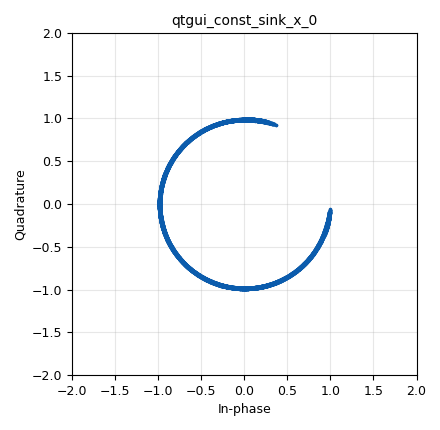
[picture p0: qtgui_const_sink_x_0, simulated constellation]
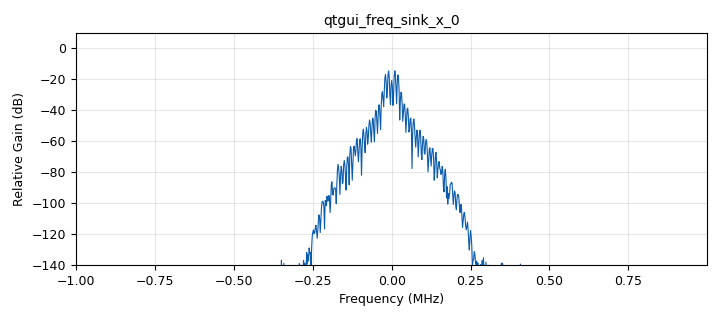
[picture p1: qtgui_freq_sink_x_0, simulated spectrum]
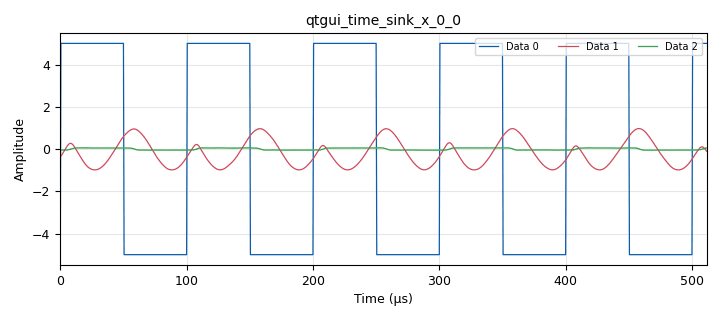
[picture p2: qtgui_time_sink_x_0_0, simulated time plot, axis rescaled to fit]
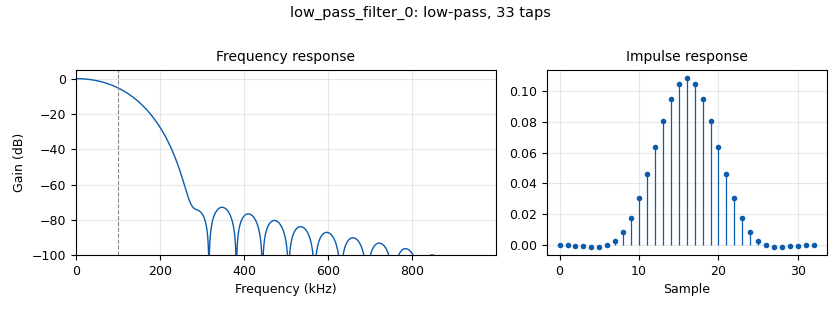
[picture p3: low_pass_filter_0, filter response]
<?xml version='1.0' encoding='utf-8'?>
<?grc format='1' created='3.7.11'?>
<flow_graph>
<block>
<key>options</key>
<param><key>id</key><value>top_block</value></param>
<param><key>generate_options</key><value>qt_gui</value></param>
</block>
<block>
<key>variable_qtgui_range</key>
<param><key>id</key><value>cutoff</value></param>
<param><key>value</key><value>100000</value></param>
<param><key>gui_hint</key><value>3,0</value></param>
<param><key>orient</key><value>Qt.Horizontal</value></param>
<param><key>start</key><value>10000</value></param>
<param><key>step</key><value>10000</value></param>
<param><key>stop</key><value>200000</value></param>
</block>
<block>
<key>variable_qtgui_range</key>
<param><key>id</key><value>freq</value></param>
<param><key>value</key><value>100000</value></param>
<param><key>gui_hint</key><value>0,0</value></param>
<param><key>orient</key><value>Qt.Horizontal</value></param>
<param><key>start</key><value>50000</value></param>
<param><key>step</key><value>50000</value></param>
<param><key>stop</key><value>500000</value></param>
</block>
<block>
<key>variable_qtgui_range</key>
<param><key>id</key><value>mod_amp</value></param>
<param><key>value</key><value>10</value></param>
<param><key>gui_hint</key><value>2,0</value></param>
<param><key>orient</key><value>Qt.Horizontal</value></param>
<param><key>start</key><value>0</value></param>
<param><key>step</key><value>1</value></param>
<param><key>stop</key><value>100</value></param>
</block>
<block>
<key>variable_qtgui_range</key>
<param><key>id</key><value>mod_freq</value></param>
<param><key>value</key><value>10000</value></param>
<param><key>gui_hint</key><value>1,0</value></param>
<param><key>orient</key><value>Qt.Horizontal</value></param>
<param><key>start</key><value>0</value></param>
<param><key>step</key><value>100</value></param>
<param><key>stop</key><value>100000</value></param>
</block>
<block>
<key>variable_qtgui_range</key>
<param><key>id</key><value>noise</value></param>
<param><key>value</key><value>0</value></param>
<param><key>gui_hint</key><value>4,0</value></param>
<param><key>orient</key><value>Qt.Horizontal</value></param>
<param><key>start</key><value>0</value></param>
<param><key>step</key><value>.1</value></param>
<param><key>stop</key><value>5</value></param>
</block>
<block>
<key>variable</key>
<param><key>id</key><value>samp_rate</value></param>
<param><key>value</key><value>2000000</value></param>
</block>
<block>
<key>analog_frequency_modulator_fc</key>
<param><key>id</key><value>analog_frequency_modulator_fc_0</value></param>
<param><key>sensitivity</key><value>.01</value></param>
</block>
<block>
<key>analog_noise_source_x</key>
<param><key>id</key><value>analog_noise_source_x_0</value></param>
<param><key>amp</key><value>noise</value></param>
<param><key>noise_type</key><value>analog.GR_GAUSSIAN</value></param>
<param><key>type</key><value>complex</value></param>
<param><key>seed</key><value>0</value></param>
</block>
<block>
<key>analog_quadrature_demod_cf</key>
<param><key>id</key><value>analog_quadrature_demod_cf_0</value></param>
<param><key>gain</key><value>1</value></param>
</block>
<block>
<key>analog_sig_source_x</key>
<param><key>id</key><value>analog_sig_source_x_0</value></param>
<param><key>amp</key><value>1</value></param>
<param><key>freq</key><value>freq</value></param>
<param><key>offset</key><value>0</value></param>
<param><key>type</key><value>float</value></param>
<param><key>samp_rate</key><value>samp_rate</value></param>
<param><key>waveform</key><value>analog.GR_COS_WAVE</value></param>
</block>
<block>
<key>analog_sig_source_x</key>
<param><key>id</key><value>analog_sig_source_x_1</value></param>
<param><key>amp</key><value>1</value></param>
<param><key>freq</key><value>freq</value></param>
<param><key>offset</key><value>0</value></param>
<param><key>type</key><value>float</value></param>
<param><key>samp_rate</key><value>samp_rate</value></param>
<param><key>waveform</key><value>analog.GR_SIN_WAVE</value></param>
</block>
<block>
<key>analog_sig_source_x</key>
<param><key>id</key><value>analog_sig_source_x_2</value></param>
<param><key>amp</key><value>mod_amp</value></param>
<param><key>freq</key><value>mod_freq</value></param>
<param><key>offset</key><value>-mod_amp/2</value></param>
<param><key>type</key><value>float</value></param>
<param><key>samp_rate</key><value>samp_rate</value></param>
<param><key>waveform</key><value>analog.GR_SQR_WAVE</value></param>
</block>
<block>
<key>analog_sig_source_x</key>
<param><key>id</key><value>analog_sig_source_x_3</value></param>
<param><key>amp</key><value>1</value></param>
<param><key>freq</key><value>-freq</value></param>
<param><key>offset</key><value>0</value></param>
<param><key>type</key><value>complex</value></param>
<param><key>samp_rate</key><value>samp_rate</value></param>
<param><key>waveform</key><value>analog.GR_COS_WAVE</value></param>
</block>
<block>
<key>blocks_add_xx</key>
<param><key>id</key><value>blocks_add_xx_0</value></param>
<param><key>type</key><value>complex</value></param>
</block>
<block>
<key>blocks_complex_to_real</key>
<param><key>id</key><value>blocks_complex_to_real_0</value></param>
</block>
<block>
<key>blocks_float_to_complex</key>
<param><key>id</key><value>blocks_float_to_complex_0</value></param>
</block>
<block>
<key>blocks_multiply_xx</key>
<param><key>id</key><value>blocks_multiply_xx_0</value></param>
<param><key>type</key><value>complex</value></param>
</block>
<block>
<key>blocks_multiply_xx</key>
<param><key>id</key><value>blocks_multiply_xx_0_0</value></param>
<param><key>type</key><value>complex</value></param>
</block>
<block>
<key>blocks_repeat</key>
<param><key>id</key><value>blocks_repeat_0</value></param>
<param><key>_enabled</key><value>0</value></param>
<param><key>interp</key><value>56</value></param>
<param><key>type</key><value>byte</value></param>
</block>
<block>
<key>blocks_throttle</key>
<param><key>id</key><value>blocks_throttle_0</value></param>
<param><key>_enabled</key><value>0</value></param>
<param><key>samples_per_second</key><value>samp_rate</value></param>
<param><key>type</key><value>byte</value></param>
</block>
<block>
<key>blocks_throttle</key>
<param><key>id</key><value>blocks_throttle_1</value></param>
<param><key>samples_per_second</key><value>samp_rate</value></param>
<param><key>type</key><value>complex</value></param>
</block>
<block>
<key>blocks_vector_source_x</key>
<param><key>id</key><value>blocks_vector_source_x_0</value></param>
<param><key>_enabled</key><value>0</value></param>
<param><key>type</key><value>byte</value></param>
<param><key>repeat</key><value>True</value></param>
<param><key>vector</key><value>(0,0,0,0,0,0,0,0,0,0,0,0,0,0,0,0,0,0,0,0,0,0,0,0,0,0,0,0,0,0,0,0,0,0,0,0,0,0,0,0,0,0,0,0,0,0,0,0,0,0,0,0,0,0,0,0,0,0,0,0,0,0,1,0,1,1,0,1,0,0,0,0,1,0,1,0,1,1,1,0,0,0,1,1,1,0,1,0,0,1,0,0,1,1,0,1,1,0,0,0,0,1,1,0,0,1,0,0,0,0,1,0,0,1,1,1,0,0,0,0,0,0,0,1,1,0,0,0,0,0,0,0,0,0,0,1,1,0,1,0,1,0,0,1,1,1,1,0,1,0,0,0,0,0,0,0,0,0,0,0,0,0,0,0,0,0,0,0,0,0,0,0,0,0,0,0,0,0,0,0,0,0,0,0,0,0,0,0,0,0,0,0,0,0,0,0,0,0,0,0,0,0,0,0,0,0,0,0,0,0,0,0)</value></param>
</block>
<block>
<key>channels_impairments</key>
<param><key>id</key><value>channels_impairments_0</value></param>
<param><key>freq_offset</key><value>0</value></param>
<param><key>magbal</key><value>0</value></param>
<param><key>phasebal</key><value>0</value></param>
<param><key>i_ofs</key><value>0</value></param>
<param><key>phase_noise_mag</key><value>0</value></param>
<param><key>q_ofs</key><value>0</value></param>
<param><key>gamma</key><value>0</value></param>
</block>
<block>
<key>low_pass_filter</key>
<param><key>id</key><value>low_pass_filter_0</value></param>
<param><key>cutoff_freq</key><value>cutoff</value></param>
<param><key>decim</key><value>1</value></param>
<param><key>type</key><value>fir_filter_ccf</value></param>
<param><key>gain</key><value>1</value></param>
<param><key>samp_rate</key><value>samp_rate</value></param>
<param><key>width</key><value>cutoff*2</value></param>
<param><key>win</key><value>firdes.WIN_BLACKMAN</value></param>
</block>
<block>
<key>note</key>
<param><key>id</key><value>note_0</value></param>
<param><key>note</key><value>FSK-Simulation</value></param>
</block>
<block>
<key>qtgui_const_sink_x</key>
<param><key>id</key><value>qtgui_const_sink_x_0</value></param>
<param><key>gui_hint</key><value>5,0</value></param>
<param><key>grid</key><value>True</value></param>
<param><key>alpha1</key><value>0.1</value></param>
<param><key>size</key><value>20000</value></param>
<param><key>tr_level</key><value>0.1</value></param>
<param><key>type</key><value>complex</value></param>
</block>
<block>
<key>qtgui_freq_sink_x</key>
<param><key>id</key><value>qtgui_freq_sink_x_0</value></param>
<param><key>bw</key><value>samp_rate</value></param>
<param><key>fc</key><value>0</value></param>
<param><key>ctrlpanel</key><value>True</value></param>
<param><key>fftsize</key><value>1024</value></param>
<param><key>gui_hint</key><value>0,1,6,1</value></param>
<param><key>grid</key><value>True</value></param>
<param><key>showports</key><value>True</value></param>
<param><key>tr_level</key><value>-40</value></param>
<param><key>tr_mode</key><value>qtgui.TRIG_MODE_NORM</value></param>
<param><key>type</key><value>complex</value></param>
<param><key>wintype</key><value>firdes.WIN_BLACKMAN_hARRIS</value></param>
</block>
<block>
<key>qtgui_time_sink_x</key>
<param><key>id</key><value>qtgui_time_sink_x_0</value></param>
<param><key>ctrlpanel</key><value>True</value></param>
<param><key>_enabled</key><value>0</value></param>
<param><key>color1</key><value>"blue"</value></param>
<param><key>label1</key><value></value></param>
<param><key>color2</key><value>"red"</value></param>
<param><key>label2</key><value></value></param>
<param><key>color3</key><value>"green"</value></param>
<param><key>label3</key><value></value></param>
<param><key>color4</key><value>"black"</value></param>
<param><key>label4</key><value></value></param>
<param><key>nconnections</key><value>2</value></param>
<param><key>size</key><value>1024</value></param>
<param><key>srate</key><value>samp_rate</value></param>
<param><key>tr_chan</key><value>1</value></param>
<param><key>tr_level</key><value>0.25</value></param>
<param><key>tr_mode</key><value>qtgui.TRIG_MODE_NORM</value></param>
<param><key>type</key><value>complex</value></param>
</block>
<block>
<key>qtgui_time_sink_x</key>
<param><key>id</key><value>qtgui_time_sink_x_0_0</value></param>
<param><key>ctrlpanel</key><value>True</value></param>
<param><key>color1</key><value>"blue"</value></param>
<param><key>label1</key><value></value></param>
<param><key>color2</key><value>"red"</value></param>
<param><key>label2</key><value></value></param>
<param><key>color3</key><value>"green"</value></param>
<param><key>label3</key><value></value></param>
<param><key>nconnections</key><value>3</value></param>
<param><key>size</key><value>1024</value></param>
<param><key>srate</key><value>samp_rate</value></param>
<param><key>tr_level</key><value>0.25</value></param>
<param><key>tr_mode</key><value>qtgui.TRIG_MODE_NORM</value></param>
<param><key>type</key><value>float</value></param>
</block>
<connection><source_block_id>analog_frequency_modulator_fc_0</source_block_id><sink_block_id>blocks_multiply_xx_0</sink_block_id><source_key>0</source_key><sink_key>1</sink_key></connection>
<connection><source_block_id>analog_frequency_modulator_fc_0</source_block_id><sink_block_id>qtgui_time_sink_x_0</sink_block_id><source_key>0</source_key><sink_key>1</sink_key></connection>
<connection><source_block_id>analog_noise_source_x_0</source_block_id><sink_block_id>blocks_add_xx_0</sink_block_id><source_key>0</source_key><sink_key>0</sink_key></connection>
<connection><source_block_id>analog_quadrature_demod_cf_0</source_block_id><sink_block_id>qtgui_time_sink_x_0_0</sink_block_id><source_key>0</source_key><sink_key>2</sink_key></connection>
<connection><source_block_id>analog_sig_source_x_0</source_block_id><sink_block_id>blocks_float_to_complex_0</sink_block_id><source_key>0</source_key><sink_key>0</sink_key></connection>
<connection><source_block_id>analog_sig_source_x_1</source_block_id><sink_block_id>blocks_float_to_complex_0</sink_block_id><source_key>0</source_key><sink_key>1</sink_key></connection>
<connection><source_block_id>analog_sig_source_x_2</source_block_id><sink_block_id>analog_frequency_modulator_fc_0</sink_block_id><source_key>0</source_key><sink_key>0</sink_key></connection>
<connection><source_block_id>analog_sig_source_x_2</source_block_id><sink_block_id>qtgui_time_sink_x_0_0</sink_block_id><source_key>0</source_key><sink_key>0</sink_key></connection>
<connection><source_block_id>analog_sig_source_x_3</source_block_id><sink_block_id>blocks_add_xx_0</sink_block_id><source_key>0</source_key><sink_key>1</sink_key></connection>
<connection><source_block_id>blocks_add_xx_0</source_block_id><sink_block_id>blocks_multiply_xx_0_0</sink_block_id><source_key>0</source_key><sink_key>1</sink_key></connection>
<connection><source_block_id>blocks_complex_to_real_0</source_block_id><sink_block_id>qtgui_time_sink_x_0_0</sink_block_id><source_key>0</source_key><sink_key>1</sink_key></connection>
<connection><source_block_id>blocks_float_to_complex_0</source_block_id><sink_block_id>blocks_multiply_xx_0</sink_block_id><source_key>0</source_key><sink_key>0</sink_key></connection>
<connection><source_block_id>blocks_multiply_xx_0</source_block_id><sink_block_id>blocks_throttle_1</sink_block_id><source_key>0</source_key><sink_key>0</sink_key></connection>
<connection><source_block_id>blocks_multiply_xx_0_0</source_block_id><sink_block_id>low_pass_filter_0</sink_block_id><source_key>0</source_key><sink_key>0</sink_key></connection>
<connection><source_block_id>blocks_throttle_0</source_block_id><sink_block_id>blocks_repeat_0</sink_block_id><source_key>0</source_key><sink_key>0</sink_key></connection>
<connection><source_block_id>blocks_throttle_1</source_block_id><sink_block_id>channels_impairments_0</sink_block_id><source_key>0</source_key><sink_key>0</sink_key></connection>
<connection><source_block_id>blocks_throttle_1</source_block_id><sink_block_id>qtgui_time_sink_x_0</sink_block_id><source_key>0</source_key><sink_key>0</sink_key></connection>
<connection><source_block_id>blocks_vector_source_x_0</source_block_id><sink_block_id>blocks_throttle_0</sink_block_id><source_key>0</source_key><sink_key>0</sink_key></connection>
<connection><source_block_id>channels_impairments_0</source_block_id><sink_block_id>blocks_multiply_xx_0_0</sink_block_id><source_key>0</source_key><sink_key>0</sink_key></connection>
<connection><source_block_id>low_pass_filter_0</source_block_id><sink_block_id>analog_quadrature_demod_cf_0</sink_block_id><source_key>0</source_key><sink_key>0</sink_key></connection>
<connection><source_block_id>low_pass_filter_0</source_block_id><sink_block_id>blocks_complex_to_real_0</sink_block_id><source_key>0</source_key><sink_key>0</sink_key></connection>
<connection><source_block_id>low_pass_filter_0</source_block_id><sink_block_id>qtgui_const_sink_x_0</sink_block_id><source_key>0</source_key><sink_key>0</sink_key></connection>
<connection><source_block_id>low_pass_filter_0</source_block_id><sink_block_id>qtgui_freq_sink_x_0</sink_block_id><source_key>0</source_key><sink_key>0</sink_key></connection>
</flow_graph>
